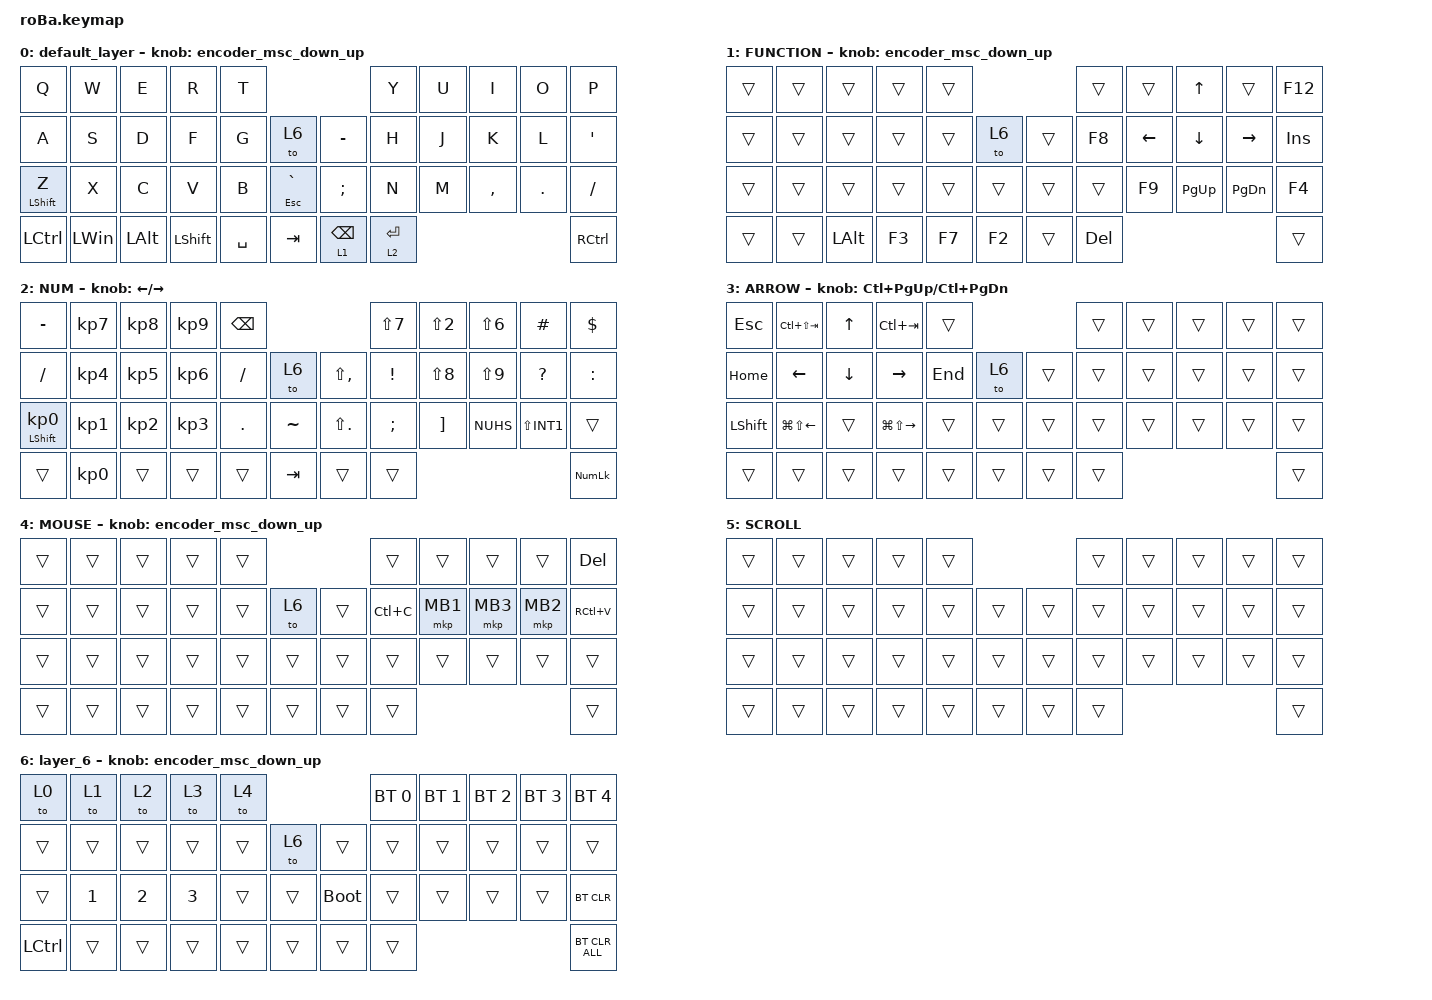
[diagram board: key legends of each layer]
#include <dt-bindings/zmk/mouse.h>
#include <behaviors.dtsi>
#include <dt-bindings/zmk/bt.h>
#include <dt-bindings/zmk/keys.h>
#include <dt-bindings/zmk/pointing.h>

#define ZMK_POINTING_DEFAULT_SCRL_VAL 80

&mt {
    flavor = "balanced";
    quick-tap-ms = <0>;
};

/* トラックボール設定: 動かすとレイヤー4へ、スクロールでレイヤー5へ */

&trackball {
    automouse-layer = <4>;
    scroll-layers = <5>;
};

/ {
    combos { compatible = "zmk,combos"; };

    /* カスタム挙動の定義 */

    behaviors {
        encoder_msc_down_up: encoder_msc_down_up {
            compatible = "zmk,behavior-sensor-rotate";
            #sensor-binding-cells = <0>;
            bindings = <&msc SCRL_DOWN>, <&msc SCRL_UP>;

            tap-ms = <30>;
        };
    };

    keymap {
        compatible = "zmk,keymap";

        default_layer {
            bindings = <
&kp Q             &kp W         &kp E         &kp R           &kp T                                          &kp Y        &kp U  &kp I      &kp O    &kp P
&kp A             &kp S         &kp D         &kp F           &kp G      &to 6              &kp MINUS        &kp H        &kp J  &kp K      &kp L    &kp SQT
&mt LEFT_SHIFT Z  &kp X         &kp C         &kp V           &kp B      &mt ESC GRAVE      &kp SEMICOLON    &kp N        &kp M  &kp COMMA  &kp DOT  &kp SLASH
&kp LCTRL         &kp LEFT_WIN  &kp LEFT_ALT  &kp LEFT_SHIFT  &kp SPACE  &kp TAB            &lt 1 BACKSPACE  &lt 2 ENTER                             &kp RCTRL
            >;

            sensor-bindings = <&encoder_msc_down_up>;
        };

        FUNCTION {
            bindings = <
&trans  &trans  &trans        &trans  &trans                      &trans   &trans    &kp UP_ARROW    &trans         &kp F12
&trans  &trans  &trans        &trans  &trans  &to 6       &trans  &kp F8   &kp LEFT  &kp DOWN_ARROW  &kp RIGHT      &kp INS
&trans  &trans  &trans        &trans  &trans  &trans      &trans  &trans   &kp F9    &kp PAGE_UP     &kp PAGE_DOWN  &kp F4
&trans  &trans  &kp LEFT_ALT  &kp F3  &kp F7  &kp F2      &trans  &kp DEL                                           &trans
            >;

            sensor-bindings = <&encoder_msc_down_up>;
        };

        NUM {
            bindings = <
&kp MINUS                   &kp KP_NUMBER_7  &kp KP_NUMBER_8  &kp KP_NUMBER_9  &kp BACKSPACE                                &kp LS(N7)       &kp LS(N2)        &kp LS(N6)  &kp HASH      &kp DLLR
&kp SLASH                   &kp KP_NUMBER_4  &kp KP_NUMBER_5  &kp KP_NUMBER_6  &kp SLASH      &to 6          &kp LS(COMMA)  &kp EXCLAMATION  &kp LS(NUMBER_8)  &kp LS(N9)  &kp QUESTION  &kp COLON
&mt LEFT_SHIFT KP_NUMBER_0  &kp KP_NUMBER_1  &kp KP_NUMBER_2  &kp KP_NUMBER_3  &kp PERIOD     &kp TILDE      &kp LS(DOT)    &kp SEMI         &kp RBKT          &kp NUHS    &kp LS(INT1)  &trans
&trans                      &kp KP_NUMBER_0  &trans           &trans           &trans         &kp TAB        &trans         &trans                                                       &kp KP_NUM
            >;

            sensor-bindings = <&inc_dec_kp LEFT RIGHT>;
        };

        ARROW {
            bindings = <
&kp ESCAPE      &kp LC(LS(TAB))         &kp UP_ARROW    &kp LC(TAB)              &trans                       &trans  &trans  &trans  &trans  &trans
&kp HOME        &kp LEFT_ARROW          &kp DOWN_ARROW  &kp RIGHT_ARROW          &kp END  &to 6       &trans  &trans  &trans  &trans  &trans  &trans
&kp LEFT_SHIFT  &kp LG(LS(LEFT_ARROW))  &trans          &kp LG(LS(RIGHT_ARROW))  &trans   &trans      &trans  &trans  &trans  &trans  &trans  &trans
&trans          &trans                  &trans          &trans                   &trans   &trans      &trans  &trans                          &trans
            >;

            sensor-bindings = <&inc_dec_kp LC(PAGE_UP) LC(PAGE_DOWN)>;
        };

        MOUSE {
            bindings = <
&trans  &trans  &trans  &trans  &trans                      &trans     &trans    &trans    &trans    &kp DEL
&trans  &trans  &trans  &trans  &trans  &to 6       &trans  &kp LC(C)  &mkp MB1  &mkp MB3  &mkp MB2  &kp RC(V)
&trans  &trans  &trans  &trans  &trans  &trans      &trans  &trans     &trans    &trans    &trans    &trans
&trans  &trans  &trans  &trans  &trans  &trans      &trans  &trans                                   &trans
            >;

            sensor-bindings = <&encoder_msc_down_up>;
        };

        SCROLL {
            bindings = <
&trans  &trans  &trans  &trans  &trans                      &trans  &trans  &trans  &trans  &trans
&trans  &trans  &trans  &trans  &trans  &trans      &trans  &trans  &trans  &trans  &trans  &trans
&trans  &trans  &trans  &trans  &trans  &trans      &trans  &trans  &trans  &trans  &trans  &trans
&trans  &trans  &trans  &trans  &trans  &trans      &trans  &trans                          &trans
            >;
        };

        layer_6 {
            bindings = <
&to 0             &to 1         &to 2         &to 3         &to 4                            &bt BT_SEL 0  &bt BT_SEL 1  &bt BT_SEL 2  &bt BT_SEL 3  &bt BT_SEL 4
&trans            &trans        &trans        &trans        &trans  &to 6       &trans       &trans        &trans        &trans        &trans        &trans
&trans            &kp NUMBER_1  &kp NUMBER_2  &kp NUMBER_3  &trans  &trans      &bootloader  &trans        &trans        &trans        &trans        &bt BT_CLR
&kp LEFT_CONTROL  &trans        &trans        &trans        &trans  &trans      &trans       &trans                                                  &bt BT_CLR_ALL
            >;

            sensor-bindings = <&encoder_msc_down_up>;
        };
    };
};
